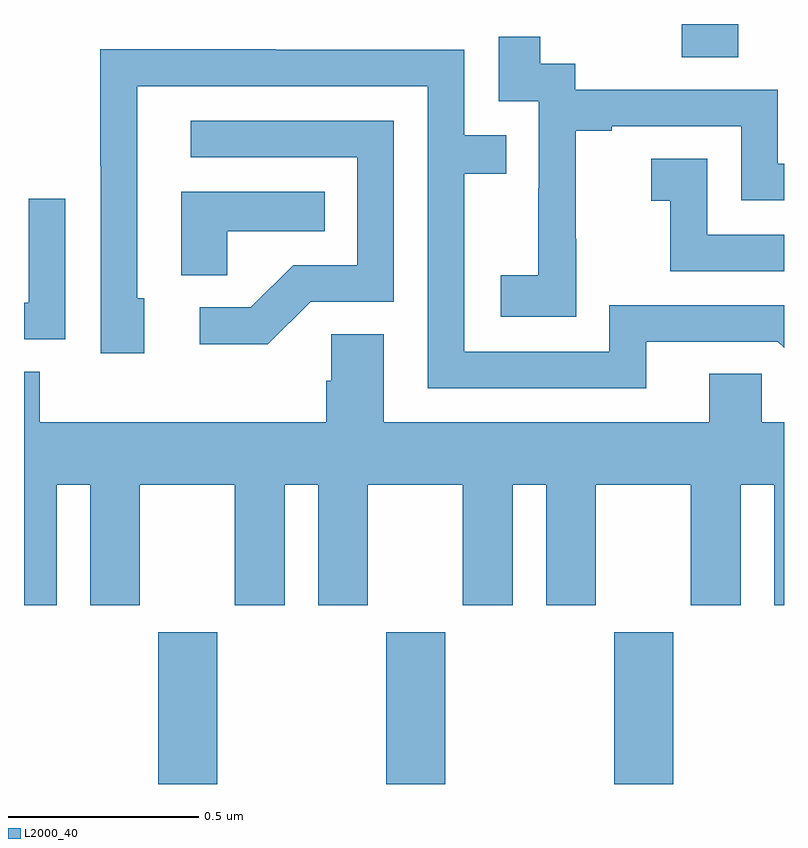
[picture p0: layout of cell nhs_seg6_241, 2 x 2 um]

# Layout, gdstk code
import gdstk
lib = gdstk.Library(unit=1e-6, precision=1e-09)
def R(c, l, rs):  # rectangles x0, y0, x1, y1
    for r in rs: c.add(gdstk.rectangle(r[:2], r[2:], *l))
def A(c, l, x, y, w, h, nx, ny, dx, dy):  # array of equal rectangles
    R(c, l, [(x+i*dx, y+j*dy, x+i*dx+w, y+j*dy+h) for i in range(nx) for j in range(ny)])
def P(c, l, *ps):  # polygons
    for p in ps: c.add(gdstk.Polygon(p, *l))
L2000_40 = (2000, 40)

nhs_seg6_241 = lib.new_cell('nhs_seg6_241')
A(nhs_seg6_241, L2000_40, 113.353, 994.5, 0.155, 0.4, 3, 1, 0.6, 0)
R(nhs_seg6_241, L2000_40, [(114.731,996.412,114.879,996.5)])
P(nhs_seg6_241, L2000_40, [(114.453,995.935),(114.452,995.935),(114.452,996.219),(114.547,996.219),(114.547,996.231),(114.888,996.231),(114.888,996.036),(115,996.036),(115,996.132),(114.984,996.132),(114.984,996.327),(114.45,996.327),(114.45,996.396),(114.358,996.396),(114.358,996.466),(114.249,996.466),(114.249,996.297),(114.354,996.297),(114.354,996.068),(114.353,996.068),(114.353,995.839),(114.255,995.839),(114.255,995.729),(114.453,995.729)],
  [(114.637,995.664),(114.984,995.664),(115,995.648),(115,995.76),(114.54,995.76),(114.54,995.637),(114.159,995.637),(114.159,996.106),(114.269,996.106),(114.269,996.207),(114.159,996.207),(114.159,996.432),(113.663,996.432),(113.663,996.434),(113.2,996.434),(113.2,996.127),(113.202,996.127),(113.202,995.634),(113.317,995.634),(113.317,995.778),(113.298,995.778),(113.298,996.336),(114.063,996.336),(114.063,995.541),(114.637,995.541)],
  [(113.754,995.769),(113.973,995.769),(113.973,996.246),(113.439,996.246),(113.439,996.15),(113.877,996.15),(113.877,995.865),(113.708,995.865),(113.597,995.754),(113.463,995.754),(113.463,995.657),(113.641,995.657)],
  [(115,995.946),(114.798,995.946),(114.798,996.145),(114.651,996.145),(114.651,996.035),(114.7,996.035),(114.7,995.85),(115,995.85)],
  [(113.535,995.954),(113.792,995.954),(113.792,996.058),(113.414,996.058),(113.414,995.839),(113.535,995.839)],
  [(113.109,996.04),(113.013,996.04),(113.013,995.766),(113,995.766),(113,995.67),(113.109,995.67)],
  [(113.086,995.288),(113.174,995.288),(113.174,994.971),(113.305,994.971),(113.305,995.288),(113.555,995.288),(113.555,994.971),(113.686,994.971),(113.686,995.288),(113.774,995.288),(113.774,994.971),(113.905,994.971),(113.905,995.288),(114.155,995.288),(114.155,994.971),(114.286,994.971),(114.286,995.288),(114.374,995.288),(114.374,994.971),(114.505,994.971),(114.505,995.288),(114.755,995.288),(114.755,994.971),(114.886,994.971),(114.886,995.288),(114.974,995.288),(114.974,994.971),(115,994.971),(115,995.452),(114.942,995.452),(114.942,995.579),(114.803,995.579),(114.803,995.452),(113.947,995.452),(113.947,995.684),(113.808,995.684),(113.808,995.561),(113.795,995.561),(113.795,995.452),(113.042,995.452),(113.042,995.585),(113,995.585),(113,994.971),(113.086,994.971)])

lib.write_gds('nhs_seg6_241.gds')
